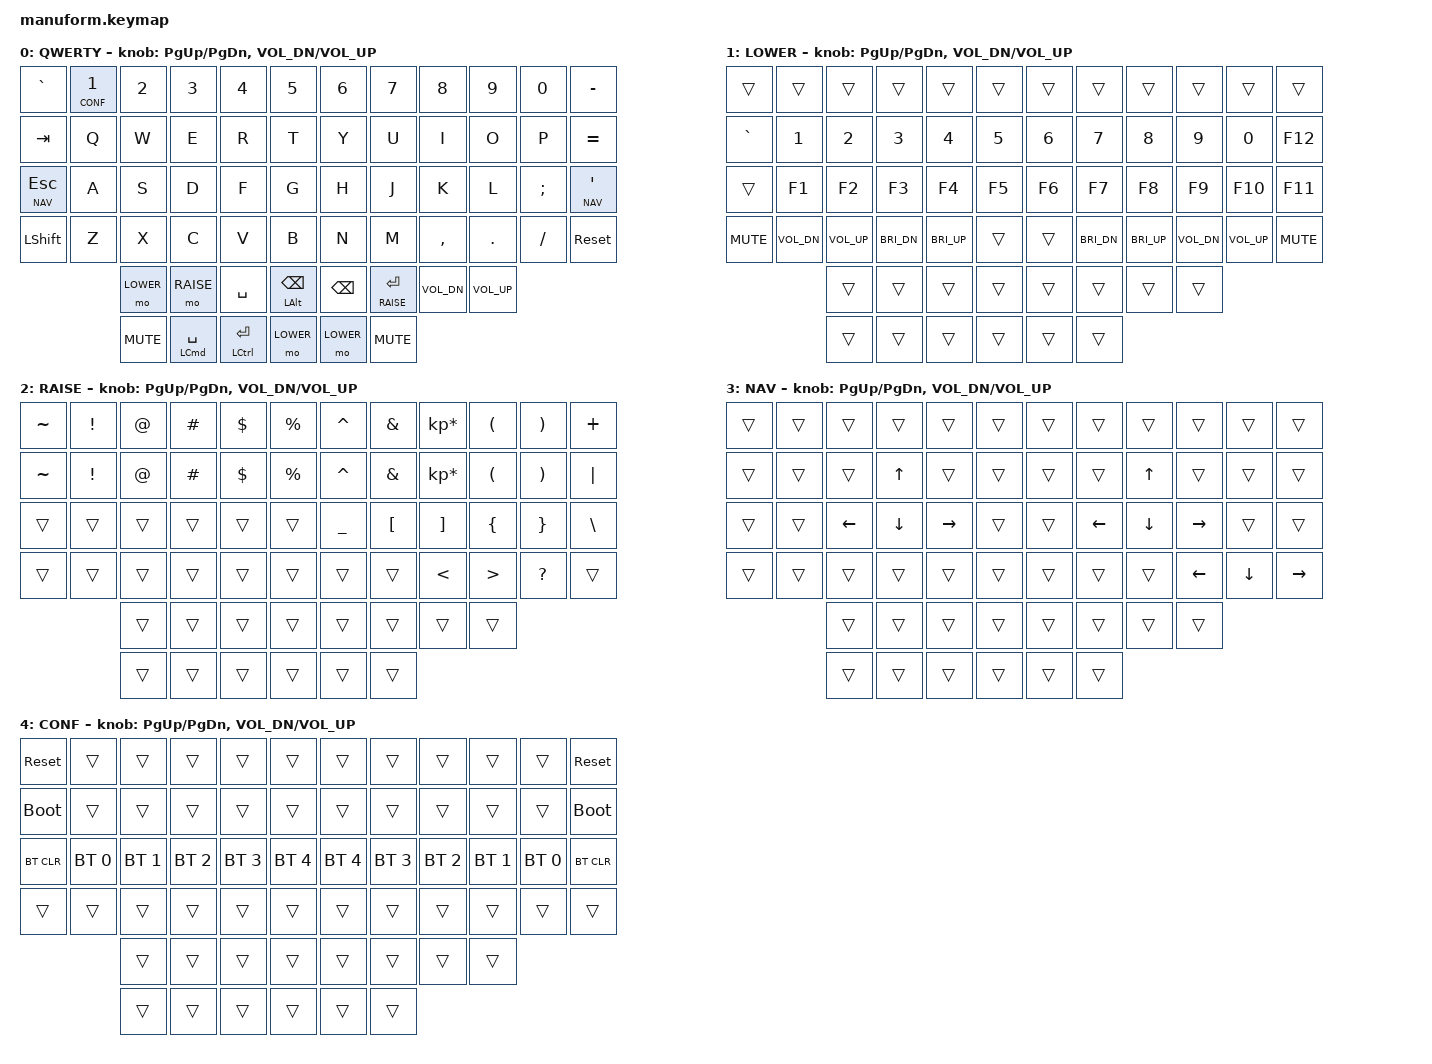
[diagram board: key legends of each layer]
/*
 * Copyright (c) 2020 The ZMK Contributors
 *
 * SPDX-License-Identifier: MIT
 */

#include <behaviors.dtsi>
#include <dt-bindings/zmk/bt.h>
#include <dt-bindings/zmk/ext_power.h>
#include <dt-bindings/zmk/keys.h>
#include <dt-bindings/zmk/outputs.h>

#define QWERTY 0
#define LOWER  1
#define RAISE  2
#define NAV    3
#define CONF   4

/ {
    keymap {
        compatible = "zmk,keymap";

        default_layer {
            display-name = "QWERTY";
            bindings = <
                &kp GRAVE &lt CONF N1   &kp N2   &kp N3   &kp N4   &kp N5         &kp N6   &kp N7   &kp N8    &kp N9    &kp N0     &kp MINUS
                &kp TAB         &kp Q    &kp W    &kp E    &kp R    &kp T         &kp Y    &kp U    &kp I     &kp O     &kp P      &kp EQUAL
                &lt NAV ESCAPE  &kp A    &kp S    &kp D    &kp F    &kp G         &kp H    &kp J    &kp K     &kp L     &kp SEMI   &lt NAV SQT
                &kp LSHFT       &kp Z    &kp X    &kp C    &kp V    &kp B         &kp N    &kp M    &kp COMMA &kp DOT   &kp FSLH   &sys_reset
                            &mo LOWER  &mo RAISE &kp SPACE  &mt LALT BSPC         &kp BSPC &lt RAISE RET   &kp C_VOL_DN  &kp C_VOL_UP
                                &kp C_MUTE  &mt LCMD SPACE  &mt LCTRL RET         &mo LOWER &mo LOWER  &kp K_MUTE
            >;

            sensor-bindings = <&inc_dec_kp PG_UP PG_DN &inc_dec_kp C_VOL_DN C_VOL_UP>;
        };

        lower_layer {
            display-name = "LOWER";
            bindings = <
                &trans       &trans        &trans          &trans          &trans          &trans               &trans    &trans         &trans          &trans          &trans          &trans
                &kp GRAVE    &kp N1        &kp N2          &kp N3          &kp N4          &kp N5               &kp N6    &kp N7         &kp N8          &kp N9          &kp N0          &kp F12
                &trans       &kp F1        &kp F2          &kp F3          &kp F4          &kp F5               &kp F6    &kp F7         &kp F8          &kp F9          &kp F10         &kp F11
                &kp C_MUTE   &kp C_VOL_DN  &kp C_VOL_UP    &kp C_BRI_DN    &kp C_BRI_UP    &trans               &trans    &kp C_BRI_DN   &kp C_BRI_UP    &kp C_VOL_DN    &kp C_VOL_UP    &kp C_MUTE
                                        &trans   &trans    &trans    &trans               &trans    &trans    &trans    &trans
                                                 &trans    &trans    &trans               &trans    &trans    &trans
            >;

            sensor-bindings = <&inc_dec_kp PG_UP PG_DN &inc_dec_kp C_VOL_DN C_VOL_UP>;
        };

        raise_layer {
            display-name = "RAISE";
            bindings = <
                &kp TILDE    &kp EXCL  &kp AT    &kp HASH  &kp DLLR  &kp PRCNT            &kp CARET &kp AMPS  &kp KP_MULTIPLY &kp LPAR  &kp RPAR  &kp PLUS
                &kp TILDE    &kp EXCL  &kp AT    &kp HASH  &kp DLLR  &kp PRCNT            &kp CARET &kp AMPS  &kp KP_MULTIPLY &kp LPAR  &kp RPAR  &kp PIPE
                &trans       &trans    &trans    &trans    &trans    &trans               &kp UNDER &kp LBKT  &kp RBKT        &kp LBRC  &kp RBRC  &kp BSLH
                &trans       &trans    &trans    &trans    &trans    &trans               &trans    &trans    &kp LT    &kp GT   &kp QMARK  &trans
                                        &trans   &trans    &trans    &trans               &trans    &trans    &trans    &trans
                                                 &trans    &trans    &trans               &trans    &trans    &trans

            >;

            sensor-bindings = <&inc_dec_kp PG_UP PG_DN &inc_dec_kp C_VOL_DN C_VOL_UP>;
        };

        navigation_layer {
			display-name = "NAV";

			bindings = <
                &trans    &trans    &trans    &trans    &trans    &trans                  &trans    &trans    &trans    &trans    &trans    &trans
                &trans    &trans    &trans    &kp UP    &trans    &trans                  &trans    &trans    &kp UP    &trans    &trans    &trans
                &trans    &trans    &kp LEFT  &kp DOWN &kp RIGHT  &trans                  &trans    &kp LEFT  &kp DOWN  &kp RIGHT &trans    &trans
                &trans    &trans    &trans   &trans    &trans    &trans                   &trans    &trans    &trans    &kp LEFT  &kp DOWN  &kp RIGHT
                                    &trans   &trans    &trans    &trans                   &trans    &trans    &trans    &trans
                                              &trans   &trans    &trans                   &trans    &trans    &trans
			>;

            sensor-bindings = <&inc_dec_kp PG_UP PG_DN &inc_dec_kp C_VOL_DN C_VOL_UP>;
		};

        configuration_layer {
			display-name = "CONF";

			bindings = <
                &sys_reset    &trans    &trans   &trans    &trans    &trans                                        &trans    &trans    &trans    &trans    &trans    &sys_reset
                &bootloader    &trans    &trans   &trans    &trans    &trans                                       &trans    &trans    &trans    &trans    &trans    &bootloader
                &bt BT_CLR      &bt BT_SEL 0 &bt BT_SEL 1 &bt BT_SEL 2 &bt BT_SEL 3 &bt BT_SEL 4                   &bt BT_SEL 4    &bt BT_SEL 3    &bt BT_SEL 2    &bt BT_SEL 1    &bt BT_SEL 0    &bt BT_CLR
                &trans    &trans    &trans   &trans    &trans    &trans                   &trans    &trans    &trans    &trans    &trans    &trans
                                      &trans &trans     &trans   &trans                   &trans    &trans    &trans    &trans
                                             &trans     &trans   &trans                   &trans    &trans    &trans
			>;

            sensor-bindings = <&inc_dec_kp PG_UP PG_DN &inc_dec_kp C_VOL_DN C_VOL_UP>;
		};
    };
};

